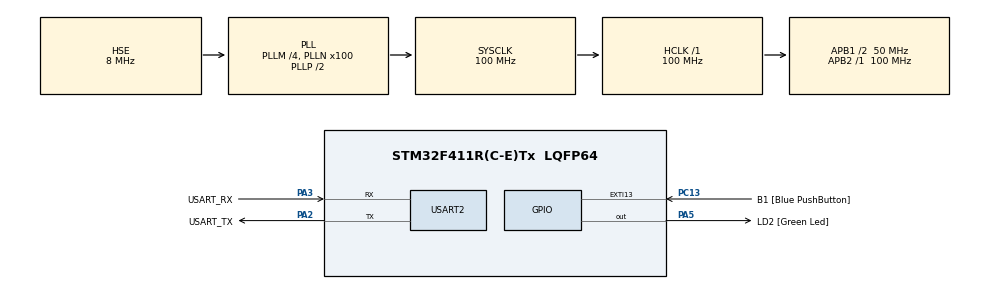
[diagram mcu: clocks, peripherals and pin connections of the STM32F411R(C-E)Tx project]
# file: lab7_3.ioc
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Dma.Request0=USART2_RX
Dma.Request1=USART2_TX
Dma.USART2_RX.0.Direction=DMA_PERIPH_TO_MEMORY
Dma.USART2_RX.0.FIFOMode=DMA_FIFOMODE_ENABLE
Dma.USART2_RX.0.FIFOThreshold=DMA_FIFO_THRESHOLD_FULL
Dma.USART2_RX.0.Instance=DMA1_Stream5
Dma.USART2_RX.0.MemBurst=DMA_MBURST_SINGLE
Dma.USART2_RX.0.MemDataAlignment=DMA_MDATAALIGN_BYTE
Dma.USART2_RX.0.MemInc=DMA_MINC_ENABLE
Dma.USART2_RX.0.Mode=DMA_NORMAL
Dma.USART2_RX.0.PeriphBurst=DMA_PBURST_SINGLE
Dma.USART2_RX.0.PeriphDataAlignment=DMA_PDATAALIGN_BYTE
Dma.USART2_RX.0.PeriphInc=DMA_PINC_DISABLE
Dma.USART2_RX.0.Priority=DMA_PRIORITY_LOW
Dma.USART2_TX.1.Direction=DMA_MEMORY_TO_PERIPH
Dma.USART2_TX.1.FIFOMode=DMA_FIFOMODE_ENABLE
Dma.USART2_TX.1.FIFOThreshold=DMA_FIFO_THRESHOLD_FULL
Dma.USART2_TX.1.Instance=DMA1_Stream6
Dma.USART2_TX.1.MemBurst=DMA_MBURST_SINGLE
Dma.USART2_TX.1.MemDataAlignment=DMA_MDATAALIGN_BYTE
Dma.USART2_TX.1.MemInc=DMA_MINC_ENABLE
Dma.USART2_TX.1.Mode=DMA_NORMAL
Dma.USART2_TX.1.PeriphBurst=DMA_PBURST_SINGLE
Dma.USART2_TX.1.PeriphDataAlignment=DMA_PDATAALIGN_BYTE
Dma.USART2_TX.1.PeriphInc=DMA_PINC_DISABLE
Dma.USART2_TX.1.Priority=DMA_PRIORITY_LOW
FREERTOS.Tasks01=defaultTask,24,128,StartDefaultTask,Default,NULL,Dynamic,NULL,NULL
FREERTOS.Timers01=tim_led_blink,led_blink,osTimerPeriodic,Default,NULL,Dynamic,NULL;tim_send_byte,send_byte,osTimerPeriodic,Default,NULL,Dynamic,NULL
FREERTOS.configENABLE_FPU=1
Mcu.Family=STM32F4
Mcu.Name=STM32F411R(C-E)Tx
Mcu.Package=LQFP64
NVIC.DMA1_Stream5_IRQn=true\:5\:0\:false\:false\:true\:true\:false\:true\:true
NVIC.DMA1_Stream6_IRQn=true\:5\:0\:false\:false\:true\:true\:false\:true\:true
NVIC.PriorityGroup=NVIC_PRIORITYGROUP_4
NVIC.TIM1_UP_TIM10_IRQn=true\:15\:0\:false\:false\:true\:false\:false\:true\:true
NVIC.TimeBase=TIM1_UP_TIM10_IRQn
NVIC.TimeBaseIP=TIM1
NVIC.USART2_IRQn=true\:5\:0\:false\:false\:true\:true\:true\:true\:true
PA13.GPIO_Label=TMS
PA13.Mode=Serial_Wire
PA13.Signal=SYS_JTMS-SWDIO
PA14.GPIO_Label=TCK
PA14.Mode=Serial_Wire
PA14.Signal=SYS_JTCK-SWCLK
PA2.GPIO_Label=USART_TX
PA2.Mode=Asynchronous
PA2.Signal=USART2_TX
PA3.GPIO_Label=USART_RX
PA3.Mode=Asynchronous
PA3.Signal=USART2_RX
PA5.GPIO_Label=LD2 [Green Led]
PA5.Signal=GPIO_Output
PB3.GPIO_Label=SWO
PB3.Signal=SYS_JTDO-SWO
PC13-ANTI_TAMP.GPIO_Label=B1 [Blue PushButton]
PC13-ANTI_TAMP.GPIO_ModeDefaultEXTI=GPIO_MODE_IT_FALLING
PC13-ANTI_TAMP.Signal=GPXTI13
PC14-OSC32_IN.Mode=LSE-External-Oscillator
PC14-OSC32_IN.Signal=RCC_OSC32_IN
PC15-OSC32_OUT.Mode=LSE-External-Oscillator
PC15-OSC32_OUT.Signal=RCC_OSC32_OUT
PH0\ -\ OSC_IN.Mode=HSE-External-Clock-Source
PH0\ -\ OSC_IN.Signal=RCC_OSC_IN
PH1\ -\ OSC_OUT.Mode=HSE-External-Clock-Source
PH1\ -\ OSC_OUT.Signal=RCC_OSC_OUT
ProjectManager.HeapSize=0x200
ProjectManager.StackSize=0x400
ProjectManager.TargetToolchain=STM32CubeIDE
RCC.48MHZClocksFreq_Value=50000000
RCC.AHBFreq_Value=100000000
RCC.APB1CLKDivider=RCC_HCLK_DIV2
RCC.APB1Freq_Value=50000000
RCC.APB1TimFreq_Value=100000000
RCC.APB2Freq_Value=100000000
RCC.APB2TimFreq_Value=100000000
RCC.CortexFreq_Value=100000000
RCC.FLatency-AdvancedSettings=FLASH_LATENCY_3
RCC.HCLKFreq_Value=100000000
RCC.HSE_VALUE=8000000
RCC.HSI_VALUE=16000000
RCC.PLLM=4
RCC.PLLN=100
RCC.PLLSourceVirtual=RCC_PLLSOURCE_HSE
RCC.SYSCLKFreq_VALUE=100000000
RCC.SYSCLKSource=RCC_SYSCLKSOURCE_PLLCLK
RCC.VCOOutputFreq_Value=200000000
USART2.VirtualMode=VM_ASYNC
VP_FREERTOS_VS_CMSIS_V2.Mode=CMSIS_V2
VP_SYS_VS_tim1.Mode=TIM1
board=NUCLEO-F411RE

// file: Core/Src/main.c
/* USER CODE BEGIN Header */
/**
  ******************************************************************************
  * @file           : main.c
  * @brief          : Main program body
  ******************************************************************************
  * @attention
  *
  * Copyright (c) 2023 STMicroelectronics.
  * All rights reserved.
  *
  * This software is licensed under terms that can be found in the LICENSE file
  * in the root directory of this software component.
  * If no LICENSE file comes with this software, it is provided AS-IS.
  *
  ******************************************************************************
  */
/* USER CODE END Header */
#include "main.h"
#include "cmsis_os.h"

/* USER CODE BEGIN PD */
#define BUF_LANE 5
#define BUF_SIZE 256
#define TX_DELAY 100
#define LED_DELAY 200
/* USER CODE END PD */

/* USER CODE BEGIN PM */
#define NEXT_BUF_LANE(BUF_IDX) BUF_IDX = (BUF_IDX + 1) % BUF_LANE
#define INCREMENT_FLAG(FLAG) FLAG = (FLAG + 1) % BUF_LANE
#define REDUCE_FLAG(FLAG) FLAG = (FLAG > 0) ? FLAG - 1 : 0
/* USER CODE END PM */

UART_HandleTypeDef huart2;
DMA_HandleTypeDef hdma_usart2_rx;
DMA_HandleTypeDef hdma_usart2_tx;

/* Definitions for defaultTask */
osThreadId_t defaultTaskHandle;
const osThreadAttr_t defaultTask_attributes = {
        .name = "defaultTask",
        .stack_size = 128 * 4,
        .priority = (osPriority_t) osPriorityNormal,
};
/* Definitions for tim_led_blink */
osTimerId_t tim_led_blinkHandle;
const osTimerAttr_t tim_led_blink_attributes = {
        .name = "tim_led_blink"
};
/* Definitions for tim_send_byte */
osTimerId_t tim_send_byteHandle;
const osTimerAttr_t tim_send_byte_attributes = {
        .name = "tim_send_byte"
};
/* USER CODE BEGIN PV */
uint8_t uart_buf[BUF_LANE][BUF_SIZE];
volatile uint8_t rx_lane = 0;
volatile uint8_t tx_lane = 0;
volatile uint8_t tx_flag = 0;
volatile size_t tx_ptr = 0;
/* USER CODE END PV */

void SystemClock_Config(void);

static void MX_GPIO_Init(void);

static void MX_DMA_Init(void);

static void MX_USART2_UART_Init(void);

void StartDefaultTask(void *argument);

void led_blink(void *argument);

void send_byte(void *argument);

int main(void) {

    /* MCU Configuration--------------------------------------------------------*/

    /* Reset of all peripherals, Initializes the Flash interface and the Systick. */
    HAL_Init();

    /* Configure the system clock */
    SystemClock_Config();

    /* Initialize all configured peripherals */
    MX_GPIO_Init();
    MX_DMA_Init();
    MX_USART2_UART_Init();

    /* Init scheduler */
    osKernelInitialize();

    /* Create the timer(s) */
    /* creation of tim_led_blink */
    tim_led_blinkHandle = osTimerNew(led_blink, osTimerPeriodic, NULL, &tim_led_blink_attributes);

    /* creation of tim_send_byte */
    tim_send_byteHandle = osTimerNew(send_byte, osTimerPeriodic, NULL, &tim_send_byte_attributes);

    /* USER CODE BEGIN RTOS_TIMERS */
    /* start timers, add new ones, ... */
    osTimerStart(tim_led_blinkHandle, LED_DELAY);
    osTimerStart(tim_send_byteHandle, TX_DELAY);
    /* USER CODE END RTOS_TIMERS */

    /* Create the thread(s) */
    /* creation of defaultTask */
    defaultTaskHandle = osThreadNew(StartDefaultTask, NULL, &defaultTask_attributes);

    /* Start scheduler */
    osKernelStart();
    /* We should never get here as control is now taken by the scheduler */
    /* Infinite loop */
    while (1) {

    }
}

void SystemClock_Config(void) {
    RCC_OscInitTypeDef RCC_OscInitStruct = {0};
    RCC_ClkInitTypeDef RCC_ClkInitStruct = {0};

    /** Configure the main internal regulator output voltage
    */
    __HAL_RCC_PWR_CLK_ENABLE();
    __HAL_PWR_VOLTAGESCALING_CONFIG(PWR_REGULATOR_VOLTAGE_SCALE1);

    /** Initializes the RCC Oscillators according to the specified parameters
    * in the RCC_OscInitTypeDef structure.
    */
    RCC_OscInitStruct.OscillatorType = RCC_OSCILLATORTYPE_HSE;
    RCC_OscInitStruct.HSEState = RCC_HSE_BYPASS;
    RCC_OscInitStruct.PLL.PLLState = RCC_PLL_ON;
    RCC_OscInitStruct.PLL.PLLSource = RCC_PLLSOURCE_HSE;
    RCC_OscInitStruct.PLL.PLLM = 4;
    RCC_OscInitStruct.PLL.PLLN = 100;
    RCC_OscInitStruct.PLL.PLLP = RCC_PLLP_DIV2;
    RCC_OscInitStruct.PLL.PLLQ = 4;
    if (HAL_RCC_OscConfig(&RCC_OscInitStruct) != HAL_OK) {
        Error_Handler();
    }

    /** Initializes the CPU, AHB and APB buses clocks
    */
    RCC_ClkInitStruct.ClockType = RCC_CLOCKTYPE_HCLK | RCC_CLOCKTYPE_SYSCLK
                                  | RCC_CLOCKTYPE_PCLK1 | RCC_CLOCKTYPE_PCLK2;
    RCC_ClkInitStruct.SYSCLKSource = RCC_SYSCLKSOURCE_PLLCLK;
    RCC_ClkInitStruct.AHBCLKDivider = RCC_SYSCLK_DIV1;
    RCC_ClkInitStruct.APB1CLKDivider = RCC_HCLK_DIV2;
    RCC_ClkInitStruct.APB2CLKDivider = RCC_HCLK_DIV1;

    if (HAL_RCC_ClockConfig(&RCC_ClkInitStruct, FLASH_LATENCY_3) != HAL_OK) {
        Error_Handler();
    }
}

static void MX_USART2_UART_Init(void) {

    huart2.Instance = USART2;
    huart2.Init.BaudRate = 115200;
    huart2.Init.WordLength = UART_WORDLENGTH_8B;
    huart2.Init.StopBits = UART_STOPBITS_1;
    huart2.Init.Parity = UART_PARITY_NONE;
    huart2.Init.Mode = UART_MODE_TX_RX;
    huart2.Init.HwFlowCtl = UART_HWCONTROL_NONE;
    huart2.Init.OverSampling = UART_OVERSAMPLING_16;
    if (HAL_UART_Init(&huart2) != HAL_OK) {
        Error_Handler();
    }

}

static void MX_DMA_Init(void) {

    /* DMA controller clock enable */
    __HAL_RCC_DMA1_CLK_ENABLE();

    /* DMA interrupt init */
    /* DMA1_Stream5_IRQn interrupt configuration */
    HAL_NVIC_SetPriority(DMA1_Stream5_IRQn, 5, 0);
    HAL_NVIC_EnableIRQ(DMA1_Stream5_IRQn);
    /* DMA1_Stream6_IRQn interrupt configuration */
    HAL_NVIC_SetPriority(DMA1_Stream6_IRQn, 5, 0);
    HAL_NVIC_EnableIRQ(DMA1_Stream6_IRQn);

}

static void MX_GPIO_Init(void) {
    GPIO_InitTypeDef GPIO_InitStruct = {0};

    /* GPIO Ports Clock Enable */
    __HAL_RCC_GPIOC_CLK_ENABLE();
    __HAL_RCC_GPIOH_CLK_ENABLE();
    __HAL_RCC_GPIOA_CLK_ENABLE();
    __HAL_RCC_GPIOB_CLK_ENABLE();

    /*Configure GPIO pin Output Level */
    HAL_GPIO_WritePin(LD2_GPIO_Port, LD2_Pin, GPIO_PIN_RESET);

    /*Configure GPIO pin : B1_Pin */
    GPIO_InitStruct.Pin = B1_Pin;
    GPIO_InitStruct.Mode = GPIO_MODE_IT_FALLING;
    GPIO_InitStruct.Pull = GPIO_NOPULL;
    HAL_GPIO_Init(B1_GPIO_Port, &GPIO_InitStruct);

    /*Configure GPIO pin : LD2_Pin */
    GPIO_InitStruct.Pin = LD2_Pin;
    GPIO_InitStruct.Mode = GPIO_MODE_OUTPUT_PP;
    GPIO_InitStruct.Pull = GPIO_NOPULL;
    GPIO_InitStruct.Speed = GPIO_SPEED_FREQ_LOW;
    HAL_GPIO_Init(LD2_GPIO_Port, &GPIO_InitStruct);

}

/* USER CODE BEGIN 4 */
void HAL_UART_RxCpltCallback(UART_HandleTypeDef *huart) {
    if (huart->Instance != huart2.Instance)
        return;
    INCREMENT_FLAG(tx_flag);
    NEXT_BUF_LANE(rx_lane);
    HAL_UART_Receive_DMA(&huart2, uart_buf[rx_lane], BUF_SIZE);
}
/* USER CODE END 4 */

void StartDefaultTask(void *argument) {
    /* USER CODE BEGIN 5 */
    HAL_UART_Receive_DMA(&huart2, uart_buf[rx_lane], BUF_SIZE);
    /* Infinite loop */
    while (1) {
        osDelay(1);
    }
    /* USER CODE END 5 */
}

/* led_blink function */
void led_blink(void *argument) {
    /* USER CODE BEGIN led_blink */
    HAL_GPIO_TogglePin(GPIOA, GPIO_PIN_5);
    /* USER CODE END led_blink */
}

/* send_byte function */
void send_byte(void *argument) {
    /* USER CODE BEGIN send_byte */
    if (tx_flag > 0) {
        HAL_UART_Transmit_DMA(&huart2, uart_buf[tx_lane] + tx_ptr++, 1);
        if (tx_ptr >= BUF_SIZE) {
            tx_ptr = 0;
            REDUCE_FLAG(tx_flag);
            NEXT_BUF_LANE(tx_lane);
        }
    }
    /* USER CODE END send_byte */
}

void HAL_TIM_PeriodElapsedCallback(TIM_HandleTypeDef *htim) {
    if (htim->Instance == TIM1) {
        HAL_IncTick();
    }
}

void Error_Handler(void) {
    __disable_irq();
    while (1) {
    }
}
